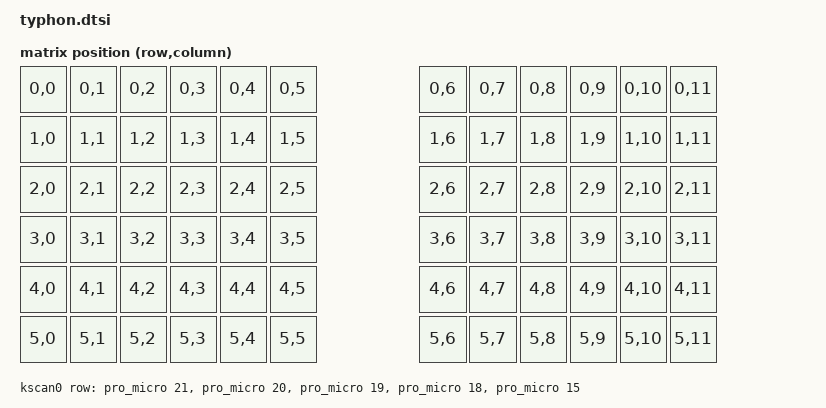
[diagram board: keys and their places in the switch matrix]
#include <dt-bindings/zmk/matrix_transform.h>
#include <physical_layouts.dtsi>

/ {
    chosen {
        zmk,kscan = &kscan0;
        zmk,physical-layout = &typhon_layout;
        /* zmk,matrix_transform = &default_transform; --- Removed as it's defined in typhon_layout */
    };

    default_transform: keymap_transform_0 {
        compatible = "zmk,matrix-transform";
        columns = <12>;
        rows = <5>;
// | SW6  | SW5  | SW4  | SW3  | SW2  | SW1  |                 | SW1  | SW2  | SW3  | SW4  | SW5  | SW6  |
// | SW12 | SW11 | SW10 | SW9  | SW8  | SW7  |                 | SW7  | SW8  | SW9  | SW10 | SW11 | SW12 |
// | SW18 | SW17 | SW16 | SW15 | SW14 | SW13 |                 | SW13 | SW14 | SW15 | SW16 | SW17 | SW18 |
// | SW24 | SW23 | SW22 | SW21 | SW20 | SW19 |                 | SW19 | SW20 | SW21 | SW22 | SW23 | SW24 |
// | SW30 | SW29 | SW28 | SW27 | SW26 | SW25 |                 | SW25 | SW26 | SW27 | SW28 | SW29 | SW30 |

        map = <
RC(0,0) RC(0,1) RC(0,2) RC(0,3) RC(0,4) RC(0,5)                 RC(0,6) RC(0,7) RC(0,8) RC(0,9) RC(0,10) RC(0,11)
RC(1,0) RC(1,1) RC(1,2) RC(1,3) RC(1,4) RC(1,5)                 RC(1,6) RC(1,7) RC(1,8) RC(1,9) RC(1,10) RC(1,11)
RC(2,0) RC(2,1) RC(2,2) RC(2,3) RC(2,4) RC(2,5)                 RC(2,6) RC(2,7) RC(2,8) RC(2,9) RC(2,10) RC(2,11)
RC(3,0) RC(3,1) RC(3,2) RC(3,3) RC(3,4) RC(3,5)                 RC(3,6) RC(3,7) RC(3,8) RC(3,9) RC(3,10) RC(3,11)
RC(4,0) RC(4,1) RC(4,2) RC(4,3) RC(4,4) RC(4,5)                 RC(4,6) RC(4,7) RC(4,8) RC(4,9) RC(4,10) RC(4,11)
RC(5,0) RC(5,1) RC(5,2) RC(5,3) RC(5,4) RC(5,5)                 RC(5,6) RC(5,7) RC(5,8) RC(5,9) RC(5,10) RC(5,11)
        >;
    };

    kscan0: kscan {
        compatible = "zmk,kscan-gpio-matrix";
        wakeup-source;
        diode-direction = "col2row";
        row-gpios
            = <&pro_micro 21 (GPIO_ACTIVE_HIGH | GPIO_PULL_DOWN)> // Row A from the schematic file
            , <&pro_micro 20 (GPIO_ACTIVE_HIGH | GPIO_PULL_DOWN)> // Row B from the schematic file
            , <&pro_micro 19 (GPIO_ACTIVE_HIGH | GPIO_PULL_DOWN)> // Row C from the schematic file
            , <&pro_micro 18 (GPIO_ACTIVE_HIGH | GPIO_PULL_DOWN)> // Row D from the schematic file
            , <&pro_micro 15 (GPIO_ACTIVE_HIGH | GPIO_PULL_DOWN)> // Row E from the schematic file
            ;

    };

    typhon_layout: typhon_layout_0 {
            compatible = "zmk,physical-layout";
            display-name = "Typhon";
            transform = <&default_transform>;
            kscan     = <&kscan0>;

        /* Include vertical offsets of each column in key layout */
        keys =
        /* --------- LEFT HALF */
        <&key_physical_attrs 100 100    0  50 0 0 0>, <&key_physical_attrs 100 100  100  50 0 0 0>, <&key_physical_attrs 100 100  200  25 0 0 0>, <&key_physical_attrs 100 100  300   0 0 0 0>, <&key_physical_attrs 100 100  400  30 0 0 0>, <&key_physical_attrs 100 100  500  40 0 0 0>,
        <&key_physical_attrs 100 100    0 150 0 0 0>, <&key_physical_attrs 100 100  100 150 0 0 0>, <&key_physical_attrs 100 100  200 125 0 0 0>, <&key_physical_attrs 100 100  300 100 0 0 0>, <&key_physical_attrs 100 100  400 130 0 0 0>, <&key_physical_attrs 100 100  500 140 0 0 0>,
        <&key_physical_attrs 100 100    0 250 0 0 0>, <&key_physical_attrs 100 100  100 250 0 0 0>, <&key_physical_attrs 100 100  200 225 0 0 0>, <&key_physical_attrs 100 100  300 200 0 0 0>, <&key_physical_attrs 100 100  400 230 0 0 0>, <&key_physical_attrs 100 100  500 240 0 0 0>,
        <&key_physical_attrs 100 100    0 350 0 0 0>, <&key_physical_attrs 100 100  100 350 0 0 0>, <&key_physical_attrs 100 100  200 325 0 0 0>, <&key_physical_attrs 100 100  300 300 0 0 0>, <&key_physical_attrs 100 100  400 330 0 0 0>, <&key_physical_attrs 100 100  500 340 0 0 0>,
        <&key_physical_attrs 100 100    0 450 0 0 0>, <&key_physical_attrs 100 100  100 450 0 0 0>, <&key_physical_attrs 100 100  200 425 0 0 0>, <&key_physical_attrs 100 100  300 400 0 0 0>, <&key_physical_attrs 100 100  400 430 0 0 0>, <&key_physical_attrs 100 100  500 440 0 0 0>,
        /* --------- RIGHT HALF */
        <&key_physical_attrs 100 100  700  40 0 0 0>, <&key_physical_attrs 100 100  800  30 0 0 0>, <&key_physical_attrs 100 100  900   0 0 0 0>, <&key_physical_attrs 100 100 1000  25 0 0 0>, <&key_physical_attrs 100 100 1100  50 0 0 0>, <&key_physical_attrs 100 100 1200  50 0 0 0>,
        <&key_physical_attrs 100 100  700 140 0 0 0>, <&key_physical_attrs 100 100  800 130 0 0 0>, <&key_physical_attrs 100 100  900 100 0 0 0>, <&key_physical_attrs 100 100 1000 125 0 0 0>, <&key_physical_attrs 100 100 1100 150 0 0 0>, <&key_physical_attrs 100 100 1200 150 0 0 0>,
        <&key_physical_attrs 100 100  700 240 0 0 0>, <&key_physical_attrs 100 100  800 230 0 0 0>, <&key_physical_attrs 100 100  900 200 0 0 0>, <&key_physical_attrs 100 100 1000 225 0 0 0>, <&key_physical_attrs 100 100 1100 250 0 0 0>, <&key_physical_attrs 100 100 1200 250 0 0 0>,
        <&key_physical_attrs 100 100  700 340 0 0 0>, <&key_physical_attrs 100 100  800 330 0 0 0>, <&key_physical_attrs 100 100  900 300 0 0 0>, <&key_physical_attrs 100 100 1000 325 0 0 0>, <&key_physical_attrs 100 100 1100 350 0 0 0>, <&key_physical_attrs 100 100 1200 350 0 0 0>,
        <&key_physical_attrs 100 100  700 440 0 0 0>, <&key_physical_attrs 100 100  800 430 0 0 0>, <&key_physical_attrs 100 100  900 400 0 0 0>, <&key_physical_attrs 100 100 1000 425 0 0 0>, <&key_physical_attrs 100 100 1100 450 0 0 0>, <&key_physical_attrs 100 100 1200 450 0 0 0>;

    };
};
